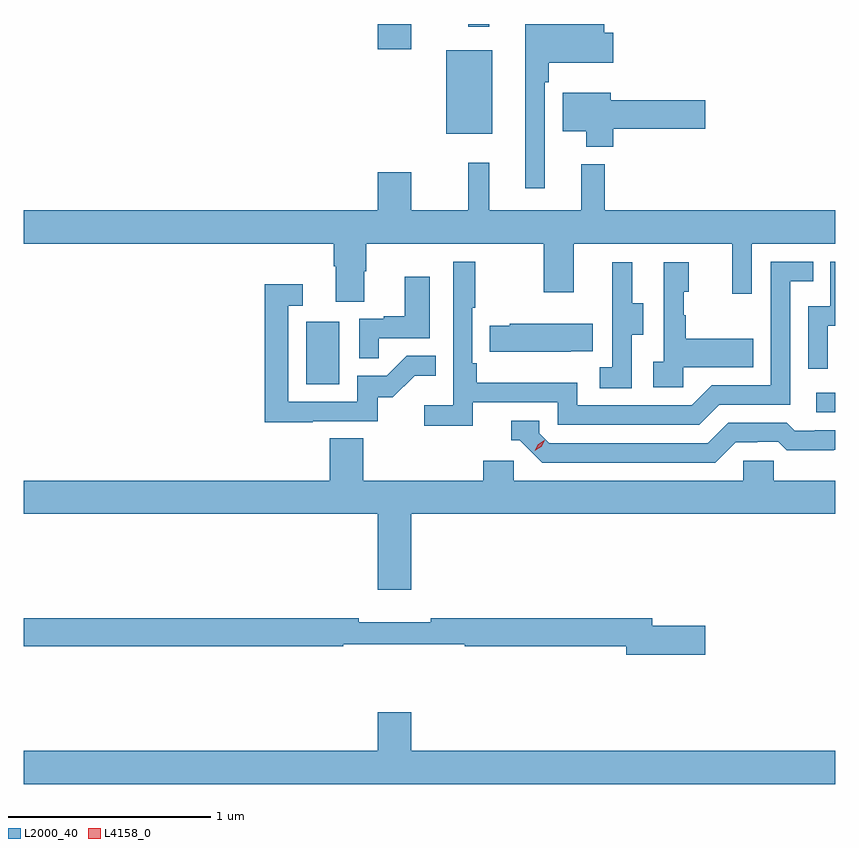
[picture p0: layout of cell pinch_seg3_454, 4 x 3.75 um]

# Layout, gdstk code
import gdstk
lib = gdstk.Library(unit=1e-6, precision=1e-09)
def R(c, l, rs):  # rectangles x0, y0, x1, y1
    for r in rs: c.add(gdstk.rectangle(r[:2], r[2:], *l))
def P(c, l, *ps):  # polygons
    for p in ps: c.add(gdstk.Polygon(p, *l))
L2000_40 = (2000, 40)
L4158_0 = (4158, 0)

pinch_seg3_454 = lib.new_cell('pinch_seg3_454')
R(pinch_seg3_454, L2000_40, [(922.413,669.45,922.506,669.546), (919.898,669.588,920.062,669.895), (920.588,670.823,920.815,671.233), (920.252,671.238,920.416,671.363), (920.698,671.349,920.8,671.363)])
P(pinch_seg3_454, L2000_40, [(921.075,671.075),(921.095,671.075),(921.095,671.171),(921.412,671.171),(921.412,671.319),(921.368,671.319),(921.368,671.363),(920.978,671.363),(920.978,670.554),(921.075,670.554)],
  [(921.413,670.846),(921.865,670.846),(921.865,670.988),(921.4,670.988),(921.4,671.023),(921.164,671.023),(921.164,670.835),(921.278,670.835),(921.278,670.757),(921.413,670.757)],
  [(920.185,670.143),(920.193,670.143),(920.193,670.28),(921.07,670.28),(921.07,670.041),(921.217,670.041),(921.217,670.28),(921.998,670.28),(921.998,670.032),(922.095,670.032),(922.095,670.28),(922.506,670.28),(922.506,670.444),(921.371,670.444),(921.371,670.672),(921.254,670.672),(921.254,670.444),(920.801,670.444),(920.801,670.678),(920.698,670.678),(920.698,670.444),(920.416,670.444),(920.416,670.633),(920.252,670.633),(920.252,670.444),(918.506,670.444),(918.506,670.28),(920.033,670.28),(920.033,670.168),(920.045,670.168),(920.045,669.994),(920.185,669.994)],
  [(920.72,669.498),(921.138,669.498),(921.138,669.387),(921.835,669.387),(921.934,669.486),(922.284,669.486),(922.284,670.095),(922.397,670.095),(922.397,670.191),(922.188,670.191),(922.188,669.582),(921.897,669.582),(921.798,669.483),(921.234,669.483),(921.234,669.595),(920.738,669.595),(920.738,669.691),(920.718,669.691),(920.718,669.964),(920.731,669.964),(920.731,670.192),(920.622,670.192),(920.622,669.484),(920.481,669.484),(920.481,669.382),(920.72,669.382)],
  [(922.47,669.875),(922.506,669.875),(922.506,670.191),(922.482,670.191),(922.482,669.972),(922.374,669.972),(922.374,669.663),(922.47,669.663)],
  [(921.756,669.671),(922.103,669.671),(922.103,669.811),(921.769,669.811),(921.769,669.926),(921.759,669.926),(921.759,670.044),(921.784,670.044),(921.784,670.189),(921.66,670.189),(921.66,669.698),(921.609,669.698),(921.609,669.573),(921.756,669.573)],
  [(921.504,669.832),(921.559,669.832),(921.559,669.987),(921.505,669.987),(921.505,670.189),(921.407,670.189),(921.407,669.975),(921.408,669.975),(921.408,669.671),(921.345,669.671),(921.345,669.568),(921.504,669.568)],
  [(920.255,669.813),(920.506,669.813),(920.506,670.117),(920.384,670.117),(920.384,669.922),(920.281,669.922),(920.281,669.909),(920.16,669.909),(920.16,669.715),(920.255,669.715)],
  [(919.931,669.405),(920.25,669.405),(920.25,669.522),(920.326,669.522),(920.433,669.629),(920.537,669.629),(920.537,669.728),(920.394,669.728),(920.296,669.63),(920.151,669.63),(920.151,669.501),(919.809,669.501),(919.809,669.975),(919.882,669.975),(919.882,670.081),(919.693,670.081),(919.693,669.4),(919.931,669.4)],
  [(921.203,669.749),(921.311,669.749),(921.311,669.886),(920.901,669.886),(920.901,669.876),(920.803,669.876),(920.803,669.746),(921.203,669.746)],
  [(922.015,669.3),(922.122,669.3),(922.122,669.303),(922.225,669.303),(922.267,669.261),(922.5,669.261),(922.5,669.263),(922.506,669.263),(922.506,669.36),(922.405,669.36),(922.405,669.357),(922.306,669.357),(922.267,669.396),(921.978,669.396),(921.879,669.297),(921.096,669.297),(921.048,669.345),(921.048,669.408),(920.909,669.408),(920.909,669.312),(920.952,669.312),(921.063,669.201),(921.916,669.201)],
  [(920.416,668.948),(922.506,668.948),(922.506,669.112),(922.203,669.112),(922.203,669.21),(922.053,669.21),(922.053,669.112),(920.922,669.112),(920.922,669.21),(920.771,669.21),(920.771,669.112),(920.18,669.112),(920.18,669.32),(920.015,669.32),(920.015,669.112),(918.506,669.112),(918.506,668.948),(920.252,668.948),(920.252,668.574),(920.416,668.574)],
  [(921.865,668.396),(921.604,668.396),(921.604,668.432),(920.512,668.432),(920.512,668.413),(920.156,668.413),(920.156,668.432),(918.506,668.432),(918.506,668.296),(920.08,668.296),(920.08,668.304),(920.68,668.304),(920.68,668.296),(921.476,668.296),(921.476,668.254),(921.865,668.254)],
  [(922.506,667.78),(920.416,667.78),(920.416,667.969),(920.252,667.969),(920.252,667.78),(918.506,667.78),(918.506,667.616),(922.506,667.616)])
P(pinch_seg3_454, L4158_0, [(921.026,669.258),(921.026,669.258),(921.042,669.291),(921.072,669.31),(921.073,669.31),(921.073,669.31),(921.057,669.278),(921.026,669.258)])

lib.write_gds('pinch_seg3_454.gds')
